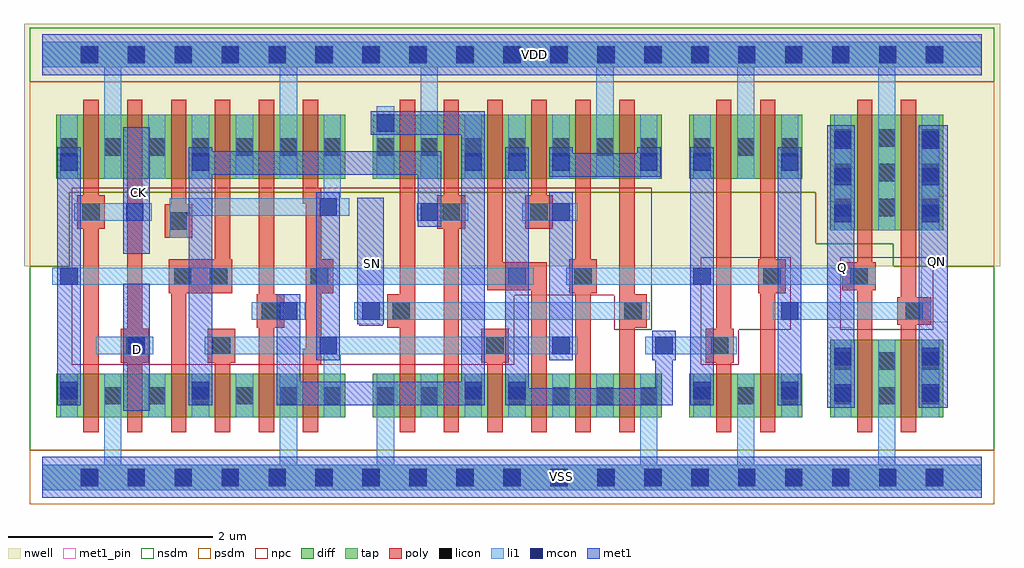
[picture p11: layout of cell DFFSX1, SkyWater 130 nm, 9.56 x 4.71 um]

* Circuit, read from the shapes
.subckt DFFSX1 CK D Q QN SN VDD VSS
XM1 VSS CK n1 VSS sky130_fd_pr__nfet_01v8 w=0.425 l=0.15
XM2 n2 D VSS VSS sky130_fd_pr__nfet_01v8 w=0.425 l=0.15
XM3 n3 n1 n2 VSS sky130_fd_pr__nfet_01v8 w=0.425 l=0.15
XM4 n4 n5 n3 VSS sky130_fd_pr__nfet_01v8 w=0.425 l=0.15
XM5 VSS n6 n4 VSS sky130_fd_pr__nfet_01v8 w=0.425 l=0.15
XM6 n5 n1 VSS VSS sky130_fd_pr__nfet_01v8 w=0.425 l=0.15
XM7 n7 SN VSS VSS sky130_fd_pr__nfet_01v8 w=0.425 l=0.15
XM8 n6 n3 n7 VSS sky130_fd_pr__nfet_01v8 w=0.425 l=0.15
XM9 n8 n5 n6 VSS sky130_fd_pr__nfet_01v8 w=0.425 l=0.15
XM10 n9 n1 n8 VSS sky130_fd_pr__nfet_01v8 w=0.425 l=0.15
XM11 n10 n11 n9 VSS sky130_fd_pr__nfet_01v8 w=0.425 l=0.15
XM12 VSS SN n10 VSS sky130_fd_pr__nfet_01v8 w=0.425 l=0.15
XM13 VSS n8 n11 VSS sky130_fd_pr__nfet_01v8 w=0.425 l=0.15
XM14 n12 n11 VSS VSS sky130_fd_pr__nfet_01v8 w=0.425 l=0.15
XM15 VSS n11 Q VSS sky130_fd_pr__nfet_01v8 w=0.76 l=0.15
XM16 QN n12 VSS VSS sky130_fd_pr__nfet_01v8 w=0.76 l=0.15
XM17 VDD CK n1 VDD sky130_fd_pr__pfet_01v8 w=0.625 l=0.15
XM18 n13 D VDD VDD sky130_fd_pr__pfet_01v8 w=0.625 l=0.15
XM19 n3 n5 n13 VDD sky130_fd_pr__pfet_01v8 w=0.625 l=0.15
XM20 n14 n1 n3 VDD sky130_fd_pr__pfet_01v8 w=0.625 l=0.15
XM21 VDD n6 n14 VDD sky130_fd_pr__pfet_01v8 w=0.625 l=0.15
XM22 n5 n1 VDD VDD sky130_fd_pr__pfet_01v8 w=0.625 l=0.15
XM23 VDD SN n6 VDD sky130_fd_pr__pfet_01v8 w=0.625 l=0.15
XM24 n6 n3 VDD VDD sky130_fd_pr__pfet_01v8 w=0.625 l=0.15
XM25 n8 n1 n6 VDD sky130_fd_pr__pfet_01v8 w=0.625 l=0.15
XM26 n15 n5 n8 VDD sky130_fd_pr__pfet_01v8 w=0.625 l=0.15
XM27 VDD n11 n15 VDD sky130_fd_pr__pfet_01v8 w=0.625 l=0.15
XM28 n15 SN VDD VDD sky130_fd_pr__pfet_01v8 w=0.625 l=0.15
XM29 VDD n8 n11 VDD sky130_fd_pr__pfet_01v8 w=0.625 l=0.15
XM30 n12 n11 VDD VDD sky130_fd_pr__pfet_01v8 w=0.625 l=0.15
XM31 VDD n11 Q VDD sky130_fd_pr__pfet_01v8 w=1.13 l=0.15
XM32 QN n12 VDD VDD sky130_fd_pr__pfet_01v8 w=1.13 l=0.15
.ends

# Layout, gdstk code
from math import pi, radians
import gdstk
lib = gdstk.Library(unit=1e-6, precision=1e-09)
def R(c, l, rs):  # rectangles x0, y0, x1, y1
    for r in rs: c.add(gdstk.rectangle(r[:2], r[2:], *l))
def A(c, l, x, y, w, h, nx, ny, dx, dy):  # array of equal rectangles
    R(c, l, [(x+i*dx, y+j*dy, x+i*dx+w, y+j*dy+h) for i in range(nx) for j in range(ny)])
def P(c, l, *ps):  # polygons
    for p in ps: c.add(gdstk.Polygon(p, *l))
nwell = (64, 20)
diff = (65, 20)
tap = (65, 44)
poly = (66, 20)
licon = (66, 44)
li1 = (67, 20)
mcon = (67, 44)
met1_pin = (68, 16)
met1 = (68, 20)
nsdm = (93, 44)
psdm = (94, 20)
npc = (95, 20)

pyl1con_c_cdns_751554744 = lib.new_cell('PYL1CON_C_CDNS_751554744754')
R(pyl1con_c_cdns_751554744, poly, [(-0.135,-0.29,0.135,0.29)])
R(pyl1con_c_cdns_751554744, licon, [(-0.085,-0.085,0.085,0.085)])
R(pyl1con_c_cdns_751554744, npc, [(-0.185,-0.185,0.185,0.185)])

c_pyl1con_c_cdns_751554744 = lib.new_cell('PYL1CON_C_CDNS_751554744751')
R(c_pyl1con_c_cdns_751554744, poly, [(-0.135,-0.165,0.135,0.165)])
R(c_pyl1con_c_cdns_751554744, licon, [(-0.085,-0.085,0.085,0.085)])
R(c_pyl1con_c_cdns_751554744, npc, [(-0.185,-0.185,0.185,0.185)])

licondiff_c_cdns_7515547 = lib.new_cell('LICONDIFF_C_CDNS_751554744755')
R(licondiff_c_cdns_7515547, diff, [(-0.125,-0.145,0.125,0.145)])
R(licondiff_c_cdns_7515547, licon, [(-0.085,-0.085,0.085,0.085), (-0.085,-0.085,0.085,0.085)])

dffsx1 = lib.new_cell('DFFSX1')
R(dffsx1, nwell, [(-0.18,2.07,9.38,4.445)])
R(dffsx1, diff, [(0.135,0.59,2.965,1.015), (3.235,0.59,6.065,1.015), (6.335,0.59,7.445,1.015), (7.715,0.59,8.825,1.35), (7.715,2.42,8.825,3.55), (0.135,2.925,2.965,3.55), (3.235,2.925,6.065,3.55), (6.335,2.925,7.445,3.55)])
R(dffsx1, poly, [(0.4,0.44,0.55,3.7), (0.83,0.44,0.98,3.7), (1.69,0.44,1.84,1.165), (2.12,0.44,2.27,3.7), (3.5,0.44,3.65,3.7), (3.93,0.44,4.08,3.7), (4.36,0.44,4.51,1.165), (5.22,0.44,5.37,3.7), (5.65,0.44,5.8,3.7), (6.6,0.44,6.75,3.7), (7.03,0.44,7.18,3.7), (7.98,0.44,8.13,3.7), (8.41,0.44,8.56,3.7), (1.26,2.51,1.41,3.7), (4.79,2.725,4.94,3.7)])
P(dffsx1, poly, [(4.79,0.44),(4.79,1.895),(4.36,1.895),(4.36,3.7),(4.51,3.7),(4.51,2.045),(4.94,2.045),(4.94,0.44)],
  [(2.55,0.44),(2.55,1.26),(2.58,1.26),(2.58,2.68),(2.55,2.68),(2.55,3.7),(2.7,3.7),(2.7,2.83),(2.73,2.83),(2.73,1.11),(2.7,1.11),(2.7,0.44)],
  [(1.26,0.44),(1.26,1.805),(1.24,1.805),(1.24,2.135),(1.69,2.135),(1.69,3.7),(1.84,3.7),(1.84,2.135),(1.86,2.135),(1.86,1.805),(1.41,1.805),(1.41,0.44)])
A(dffsx1, licon, 0.375, -0.085, 0.17, 0.17, 19, 2, 0.46, 4.14)
A(dffsx1, licon, 0.605, 0.715, 0.17, 0.17, 3, 2, 0.86, 2.435)
A(dffsx1, licon, 6.375, 0.715, 0.17, 0.17, 3, 2, 0.43, 2.435)
A(dffsx1, licon, 7.755, 0.715, 0.17, 0.17, 3, 2, 0.43, 0.34)
A(dffsx1, licon, 7.755, 2.56, 0.17, 0.17, 3, 3, 0.43, 0.34)
A(dffsx1, licon, 3.275, 3.15, 0.17, 0.17, 7, 1, 0.43, 0)
R(dffsx1, licon, [(0.175,0.715,0.345,0.885), (2.755,0.715,2.925,0.885), (3.275,0.715,3.445,0.885), (4.135,0.715,4.305,0.885), (4.565,0.715,4.735,0.885), (5.855,0.715,6.025,0.885), (0.175,3.15,0.345,3.32), (2.755,3.15,2.925,3.32)])
A(dffsx1, li1, 4.135, 2.925, 0.17, 0.625, 3, 1, 0.43, 0)
A(dffsx1, li1, 4.135, 2.925, 0.17, 0.33, 3, 1, 0.43, 0)
R(dffsx1, li1, [(0.175,0.59,0.345,1.015), (1.465,0.59,1.635,1.015), (4.135,0.59,4.305,1.015), (4.565,0.59,4.735,1.015), (6.375,0.59,6.545,1.015), (7.235,0.59,7.405,1.015), (7.755,0.59,7.925,1.35), (8.615,0.59,8.785,1.35), (7.755,0.66,7.925,1.35), (7.755,0.66,7.925,1.35), (8.615,0.66,8.785,1.35), (8.615,0.66,8.785,1.35), (0.175,0.685,0.345,1.015), (1.465,0.685,1.635,1.015), (4.135,0.685,4.305,1.015), (4.565,0.685,4.735,1.015), (6.375,0.685,6.545,1.015), (7.235,0.685,7.405,1.015), (0.755,1.205,1.085,1.375), (2.635,1.205,2.965,1.375), (4.915,1.205,5.245,1.375), (6.005,1.205,6.175,1.375), (2.245,1.545,2.575,1.715), (3.055,1.545,3.385,1.715), (7.155,1.545,7.485,1.715), (0.095,1.885,0.425,2.055), (6.295,1.885,6.625,2.055), (7.755,2.42,7.925,3.55), (7.755,2.42,7.925,3.47), (7.755,2.42,7.925,3.47), (8.615,2.42,8.785,3.55), (8.615,2.42,8.785,3.47), (8.615,2.42,8.785,3.47), (0.31,2.515,0.855,2.685), (0.74,2.515,1.07,2.685), (3.665,2.515,3.915,2.685), (4.915,2.515,5.245,2.685), (2.635,2.565,2.965,2.735), (0.175,2.925,0.345,3.55), (0.175,2.925,0.345,3.255), (1.465,2.925,1.635,3.55), (1.465,2.925,1.635,3.255), (3.275,2.925,3.445,3.55), (5.855,2.925,6.025,3.55), (5.855,2.925,6.025,3.255), (6.375,2.925,6.545,3.55), (6.375,2.925,6.545,3.255), (7.235,2.925,7.405,3.55), (7.235,2.925,7.405,3.255), (3.275,3.305,3.445,3.635)])
P(dffsx1, li1, [(0,-0.125),(0,0.125),(0.605,0.125),(0.605,1.015),(0.775,1.015),(0.775,0.125),(2.325,0.125),(2.325,1.015),(2.495,1.015),(2.495,0.125),(3.275,0.125),(3.275,1.015),(3.445,1.015),(3.445,0.125),(5.855,0.125),(5.855,1.015),(6.025,1.015),(6.025,0.125),(6.805,0.125),(6.805,1.015),(6.975,1.015),(6.975,0.125),(8.185,0.125),(8.185,1.35),(8.355,1.35),(8.355,0.125),(9.2,0.125),(9.2,-0.125)],
  [(8.185,2.42),(8.185,4.015),(6.975,4.015),(6.975,2.925),(6.805,2.925),(6.805,4.015),(5.595,4.015),(5.595,2.925),(5.425,2.925),(5.425,4.015),(3.875,4.015),(3.875,2.925),(3.705,2.925),(3.705,4.015),(2.495,4.015),(2.495,2.925),(2.325,2.925),(2.325,4.015),(0.775,4.015),(0.775,2.925),(0.605,2.925),(0.605,4.015),(0,4.015),(0,4.265),(9.2,4.265),(9.2,4.015),(8.355,4.015),(8.355,2.42)],
  [(2.755,0.59),(2.755,1.205),(1.59,1.205),(1.59,1.375),(5.245,1.375),(5.245,1.205),(2.925,1.205),(2.925,0.59)],
  [(1.25,2.345),(1.25,2.735),(2.755,2.735),(2.755,3.55),(2.925,3.55),(2.925,2.735),(3.005,2.735),(3.005,2.565),(1.42,2.565),(1.42,2.345)])
A(dffsx1, mcon, 0.375, -0.085, 0.17, 0.17, 19, 2, 0.46, 4.14)
A(dffsx1, mcon, 0.175, 0.765, 0.17, 0.17, 1, 3, 0, 1.12)
A(dffsx1, mcon, 6.375, 0.765, 0.17, 0.17, 1, 3, 0, 1.12)
A(dffsx1, mcon, 4.135, 3.005, 0.17, 0.17, 3, 1, 0.43, 0)
R(dffsx1, mcon, [(7.755,0.74,7.925,0.91), (7.755,0.74,7.925,0.91), (8.615,0.74,8.785,0.91), (8.615,0.74,8.785,0.91), (1.465,0.765,1.635,0.935), (4.135,0.765,4.305,0.935), (4.565,0.765,4.735,0.935), (7.235,0.765,7.405,0.935), (7.755,1.1,7.925,1.27), (7.755,1.1,7.925,1.27), (8.615,1.1,8.785,1.27), (8.615,1.1,8.785,1.27), (0.835,1.205,1.005,1.375), (2.715,1.205,2.885,1.375), (4.995,1.205,5.165,1.375), (6.005,1.205,6.175,1.375), (2.325,1.545,2.495,1.715), (3.135,1.545,3.305,1.715), (7.235,1.545,7.405,1.715), (7.755,2.5,7.925,2.67), (7.755,2.5,7.925,2.67), (8.615,2.5,8.785,2.67), (8.615,2.5,8.785,2.67), (0.82,2.515,0.99,2.685), (3.705,2.515,3.875,2.685), (4.995,2.515,5.165,2.685), (2.715,2.565,2.885,2.735), (7.755,2.86,7.925,3.03), (7.755,2.86,7.925,3.03), (8.615,2.86,8.785,3.03), (8.615,2.86,8.785,3.03), (1.465,3.005,1.635,3.175), (5.855,3.005,6.025,3.175), (7.235,3.005,7.405,3.175), (7.755,3.22,7.925,3.39), (7.755,3.22,7.925,3.39), (8.615,3.22,8.785,3.39), (8.615,3.22,8.785,3.39), (3.275,3.385,3.445,3.555)])
R(dffsx1, met1_pin, [(0.79,0.655,1.05,1.895), (7.69,1.465,7.95,2.705), (3.085,1.5,3.345,2.74), (8.61,1.52,8.87,2.76), (0.79,2.19,1.05,3.43)])
A(dffsx1, met1, 0.145, 0.705, 0.23, 0.29, 1, 3, 0, 1.12)
A(dffsx1, met1, 6.345, 0.705, 0.23, 0.29, 1, 3, 0, 1.12)
A(dffsx1, met1, 4.105, 2.945, 0.23, 0.29, 3, 1, 0.43, 0)
R(dffsx1, met1, [(7.725,0.68,7.955,1.33), (7.725,0.68,7.955,1.33), (8.585,0.68,8.87,3.45), (8.585,0.68,8.815,1.33), (8.585,0.68,8.815,1.33), (1.435,0.705,1.665,0.995), (4.105,0.705,4.335,0.995), (4.535,0.705,4.765,0.995), (7.205,0.705,7.435,0.995), (0.805,1.145,1.035,1.435), (2.685,1.145,2.915,1.435), (4.965,1.145,5.195,1.435), (5.975,1.145,6.205,1.435), (2.295,1.485,2.525,1.775), (3.105,1.485,3.335,1.775), (7.205,1.485,7.435,1.775), (7.725,2.44,7.955,3.45), (7.725,2.44,7.955,3.45), (8.585,2.44,8.815,3.45), (8.585,2.44,8.815,3.45), (0.79,2.455,1.02,2.745), (3.675,2.455,3.905,2.745), (4.965,2.455,5.195,2.745), (2.685,2.505,2.915,2.795), (1.435,2.945,1.665,3.235), (5.825,2.945,6.055,3.235), (7.205,2.945,7.435,3.235), (3.215,3.355,3.505,3.585)])
P(dffsx1, met1, [(4.535,0.705),(4.535,3.235),(4.765,3.235),(4.765,0.875),(6.005,0.875),(6.005,1.3),(6.175,1.3),(6.175,0.705)])
R(dffsx1, nsdm, [(-0.125,3.875,9.325,4.405)])
P(dffsx1, nsdm, [(-0.125,0.265),(-0.125,2.07),(0.265,2.07),(0.265,2.795),(7.575,2.795),(7.575,2.29),(8.335,2.29),(8.335,2.07),(9.325,2.07),(9.325,0.265)])
R(dffsx1, psdm, [(-0.125,-0.265,9.325,0.265)])
P(dffsx1, psdm, [(-0.125,2.07),(-0.125,3.875),(9.325,3.875),(9.325,2.07),(8.335,2.07),(8.335,2.29),(7.575,2.29),(7.575,2.795),(0.265,2.795),(0.265,2.07)])
R(dffsx1, npc, [(6.45,1.445,7.33,2.155), (7.815,1.445,8.725,2.155)])
P(dffsx1, npc, [(0.29,1.105),(0.29,2.835),(5.97,2.835),(5.97,1.785),(4.62,1.785),(4.62,1.105)])
dffsx1.add(gdstk.FlexPath([(5.905,1.29),(6.8,1.29)], 0.17, ends="flush", simple_path=True, layer=67, datatype=20))  # li1
dffsx1.add(gdstk.FlexPath([(0.095,1.97),(4.815,1.97)], 0.17, ends="flush", simple_path=True, layer=67, datatype=20))  # li1
dffsx1.add(gdstk.FlexPath([(1.12,2.925),(1.12,3.55)], 0.17, ends="flush", simple_path=True, layer=67, datatype=20))  # li1
dffsx1.add(gdstk.FlexPath([(1.98,2.925),(1.98,3.55)], 0.17, ends="flush", simple_path=True, layer=67, datatype=20))  # li1
dffsx1.add(gdstk.FlexPath([(2.575,1.63),(2.05,1.63)], 0.17, ends="flush", simple_path=True, layer=67, datatype=20))  # li1
dffsx1.add(gdstk.FlexPath([(5.95,1.63),(3.105,1.63)], 0.17, ends="flush", simple_path=True, layer=67, datatype=20))  # li1
dffsx1.add(gdstk.FlexPath([(3.665,2.6),(4.17,2.6)], 0.17, ends="flush", simple_path=True, layer=67, datatype=20))  # li1
dffsx1.add(gdstk.FlexPath([(0.525,1.29),(1.07,1.29)], 0.17, ends="flush", simple_path=True, layer=67, datatype=20))  # li1
dffsx1.add(gdstk.FlexPath([(4.7,2.6),(5.245,2.6)], 0.17, ends="flush", simple_path=True, layer=67, datatype=20))  # li1
dffsx1.add(gdstk.FlexPath([(5.13,1.97),(8.165,1.97)], 0.17, ends="flush", simple_path=True, layer=67, datatype=20))  # li1
dffsx1.add(gdstk.FlexPath([(1.12,0.59),(1.12,1.015)], 0.17, ends="flush", simple_path=True, layer=67, datatype=20))  # li1
dffsx1.add(gdstk.FlexPath([(1.98,0.59),(1.98,1.015)], 0.17, ends="flush", simple_path=True, layer=67, datatype=20))  # li1
dffsx1.add(gdstk.FlexPath([(3.79,0.59),(3.79,1.015)], 0.17, ends="flush", simple_path=True, layer=67, datatype=20))  # li1
dffsx1.add(gdstk.FlexPath([(5.08,0.59),(5.08,1.015)], 0.17, ends="flush", simple_path=True, layer=67, datatype=20))  # li1
dffsx1.add(gdstk.FlexPath([(5.51,0.59),(5.51,1.015)], 0.17, ends="flush", simple_path=True, layer=67, datatype=20))  # li1
dffsx1.add(gdstk.FlexPath([(7.155,1.63),(8.705,1.63)], 0.17, ends="flush", simple_path=True, layer=67, datatype=20))  # li1
dffsx1.add(gdstk.FlexPath([(3.79,2.505),(3.79,3.08),(1.55,3.08),(1.55,0.705)], 0.23, ends="flush", simple_path=True, layer=68, datatype=20))  # met1
dffsx1.add(gdstk.FlexPath([(0.92,0.655),(0.92,1.895)], 0.26, ends="flush", simple_path=True, layer=68, datatype=20))  # met1
dffsx1.add(gdstk.FlexPath([(3.215,1.5),(3.215,2.74)], 0.26, ends="flush", simple_path=True, layer=68, datatype=20))  # met1
dffsx1.add(gdstk.FlexPath([(0.92,2.19),(0.92,3.43)], 0.26, ends="flush", simple_path=True, layer=68, datatype=20))  # met1
dffsx1.add(gdstk.FlexPath([(7.82,0.68),(7.82,3.45)], 0.26, ends="flush", simple_path=True, layer=68, datatype=20))  # met1
dffsx1.add(gdstk.FlexPath([(4.965,3.06),(6.055,3.06)], 0.23, ends="flush", simple_path=True, layer=68, datatype=20))  # met1
dffsx1.add(gdstk.FlexPath([(0.26,0.705),(0.26,3.235)], 0.23, ends="flush", simple_path=True, layer=68, datatype=20))  # met1
dffsx1.add(gdstk.FlexPath([(6.46,0.705),(6.46,3.235)], 0.23, ends="flush", simple_path=True, layer=68, datatype=20))  # met1
dffsx1.add(gdstk.FlexPath([(7.32,0.705),(7.32,3.235)], 0.23, ends="flush", simple_path=True, layer=68, datatype=20))  # met1
dffsx1.add(gdstk.FlexPath([(2.8,1.145),(2.8,2.795)], 0.23, ends="flush", simple_path=True, layer=68, datatype=20))  # met1
dffsx1.add(gdstk.FlexPath([(5.08,1.145),(5.08,2.795)], 0.23, ends="flush", simple_path=True, layer=68, datatype=20))  # met1
dffsx1.add(gdstk.FlexPath([(0,0),(9.2,0)], 0.4, ends="flush", simple_path=True, layer=68, datatype=20))  # met1
dffsx1.add(gdstk.FlexPath([(0,4.14),(9.2,4.14)], 0.4, ends="flush", simple_path=True, layer=68, datatype=20))  # met1
dffsx1.add(gdstk.FlexPath([(2.41,1.795),(2.41,0.82),(4.22,0.82),(4.22,3.47),(3.215,3.47)], 0.23, ends="flush", simple_path=True, layer=68, datatype=20))  # met1
dffsx1.add(gdstk.FlexPath([(0,0),(9.2,0)], 0.25, ends="flush", simple_path=True, layer=65, datatype=44))  # tap
dffsx1.add(gdstk.FlexPath([(0,4.14),(9.2,4.14)], 0.25, ends="flush", simple_path=True, layer=65, datatype=44))  # tap
dffsx1.add(gdstk.FlexPath([(0,0),(9.2,0)], 0.4, ends="flush", simple_path=True, layer=68, datatype=16))  # met1_pin
dffsx1.add(gdstk.FlexPath([(0,4.14),(9.2,4.14)], 0.4, ends="flush", simple_path=True, layer=68, datatype=16))  # met1_pin
dffsx1.add(gdstk.Reference(pyl1con_c_cdns_751554744, (4.65,1.97), rotation=pi/2))
dffsx1.add(gdstk.Reference(c_pyl1con_c_cdns_751554744, (8.54,1.63), rotation=3*pi/2, x_reflection=True))
dffsx1.add(gdstk.Reference(c_pyl1con_c_cdns_751554744, (8,1.97), rotation=3*pi/2, x_reflection=True))
dffsx1.add(gdstk.Reference(c_pyl1con_c_cdns_751554744, (2.715,1.97)))
dffsx1.add(gdstk.Reference(c_pyl1con_c_cdns_751554744, (6.635,1.29), rotation=pi, x_reflection=True))
dffsx1.add(gdstk.Reference(c_pyl1con_c_cdns_751554744, (1.375,1.97), rotation=pi, x_reflection=True))
dffsx1.add(gdstk.Reference(c_pyl1con_c_cdns_751554744, (1.725,1.97), rotation=pi, x_reflection=True))
dffsx1.add(gdstk.Reference(c_pyl1con_c_cdns_751554744, (5.295,1.97), rotation=pi, x_reflection=True))
dffsx1.add(gdstk.Reference(c_pyl1con_c_cdns_751554744, (0.905,1.29), x_reflection=True))
dffsx1.add(gdstk.Reference(c_pyl1con_c_cdns_751554744, (1.755,1.29), x_reflection=True))
dffsx1.add(gdstk.Reference(c_pyl1con_c_cdns_751554744, (4.435,1.29), x_reflection=True))
dffsx1.add(gdstk.Reference(c_pyl1con_c_cdns_751554744, (3.515,1.63), x_reflection=True))
dffsx1.add(gdstk.Reference(c_pyl1con_c_cdns_751554744, (5.785,1.63), x_reflection=True))
dffsx1.add(gdstk.Reference(c_pyl1con_c_cdns_751554744, (7.145,1.97), x_reflection=True))
dffsx1.add(gdstk.Reference(c_pyl1con_c_cdns_751554744, (2.235,1.63), rotation=pi))
dffsx1.add(gdstk.Reference(c_pyl1con_c_cdns_751554744, (1.335,2.51), rotation=pi))
dffsx1.add(gdstk.Reference(c_pyl1con_c_cdns_751554744, (0.475,2.6), rotation=pi))
dffsx1.add(gdstk.Reference(c_pyl1con_c_cdns_751554744, (4.005,2.6), rotation=pi))
dffsx1.add(gdstk.Reference(c_pyl1con_c_cdns_751554744, (4.865,2.6), rotation=pi))
dffsx1.add(gdstk.Reference(licondiff_c_cdns_7515547, (1.12,0.8)))
dffsx1.add(gdstk.Reference(licondiff_c_cdns_7515547, (1.98,0.8)))
dffsx1.add(gdstk.Reference(licondiff_c_cdns_7515547, (3.79,0.8)))
dffsx1.add(gdstk.Reference(licondiff_c_cdns_7515547, (5.08,0.8)))
dffsx1.add(gdstk.Reference(licondiff_c_cdns_7515547, (5.51,0.8)))
dffsx1.add(gdstk.Reference(licondiff_c_cdns_7515547, (1.12,3.235)))
dffsx1.add(gdstk.Reference(licondiff_c_cdns_7515547, (1.98,3.235)))
dffsx1.add(gdstk.Label('Q', (7.835,2.06), layer=68, texttype=5))
dffsx1.add(gdstk.Label('QN', (8.755,2.115), layer=68, texttype=5))
dffsx1.add(gdstk.Label('CK', (0.945,2.795), layer=68, texttype=5))
dffsx1.add(gdstk.Label('D', (0.935,1.25), layer=68, texttype=5))
dffsx1.add(gdstk.Label('VDD', (4.825,4.145), layer=68, texttype=5))
dffsx1.add(gdstk.Label('VSS', (5.085,0.005), layer=68, texttype=5))
dffsx1.add(gdstk.Label('SN', (3.23,2.095), layer=68, texttype=5))

lib.write_gds('DFFSX1.gds')
